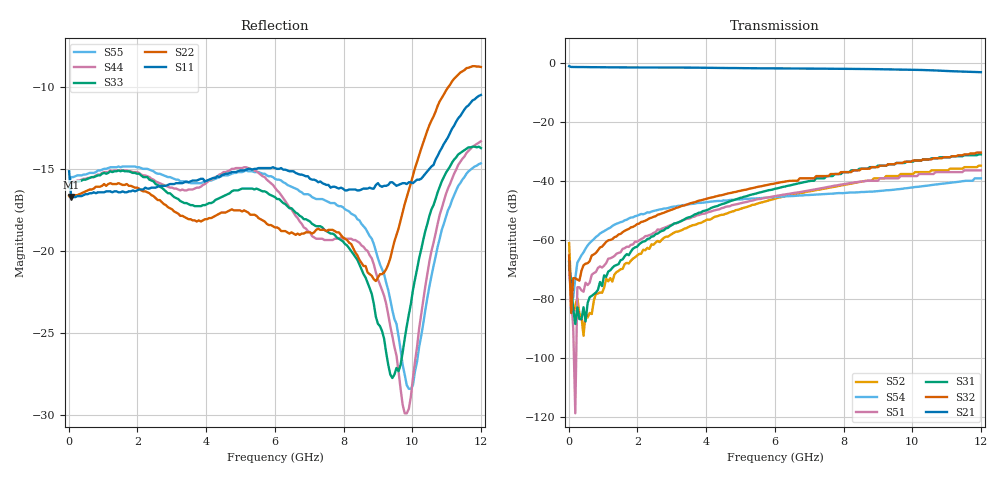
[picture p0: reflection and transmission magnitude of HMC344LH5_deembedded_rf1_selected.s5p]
! Hittite Microwave Corporation
! 20 Alpha Road
! Chelmsford, MA 01824
! Tel: 978-250-3343
! Fax: 978-250-3373
! Device: HMC344LH5, DC-12 GHz GaAs MMIC SP4T Non-Reflective Switch in Hermetic Leadless SMT Package
! Misc: Data was de-embedded to package pins.
!  Port 1 = RFC
!  Port 2 = RF1
!  Port 3 = RF2
!  Port 4 = RF3
!  Port 5 = RF4
!  RF1 selected, Vctl= 0/-5 V
!  Data reformated to new Touchstone file format - Tue Jan 09 13:12:26 2007
# MHz S DB R 50
! 5 Port Network Data
! freq  dbS11  angS11  dbS12  angS12  dbS13  angS13  dbS14  angS14
!  dbS15  angS15
!  dbS21  angS21  dbS22  angS22  dbS23  angS23
!  dbS24  angS24  dbS25  angS25
!  dbS31  angS31  dbS32  angS32
!  dbS33  angS33  dbS34  angS34  dbS35  angS35
!  dbS41  angS41
!  dbS42  angS42  dbS43  angS43  dbS44  angS44  dbS45  angS45
!  dbS51  angS51  dbS52  angS52  dbS53  angS53  dbS54  angS54
!  dbS55  angS55
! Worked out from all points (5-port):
!   201 points, 10 MHz to 12 GHz, reference 50 ohm
!   strongest paths, dB at 10 MHz, 3.007 GHz, 6.005 GHz, 9.002 GHz, 12 GHz:
!     S21: -1.2, -1.7, -2.0, -2.3, -3.3
!     S32: -65.3, -49.7, -40.9, -35.4, -30.5
!     S31: -67.3, -55.0, -42.7, -34.9, -31.1
!     S51: -68.9, -54.8, -45.2, -40.0, -36.5
!     S54: -67.6, -48.8, -45.5, -43.5, -39.2
!     S52: -61.1, -58.0, -46.1, -39.2, -34.9
!   lowest |S11| = -16.7 dB at 69.95 MHz (marker M1), VSWR 1.34, Z = 67.1 - j0.836 ohm
!   |S11| at or under -10 dB: start of sweep to end of sweep
